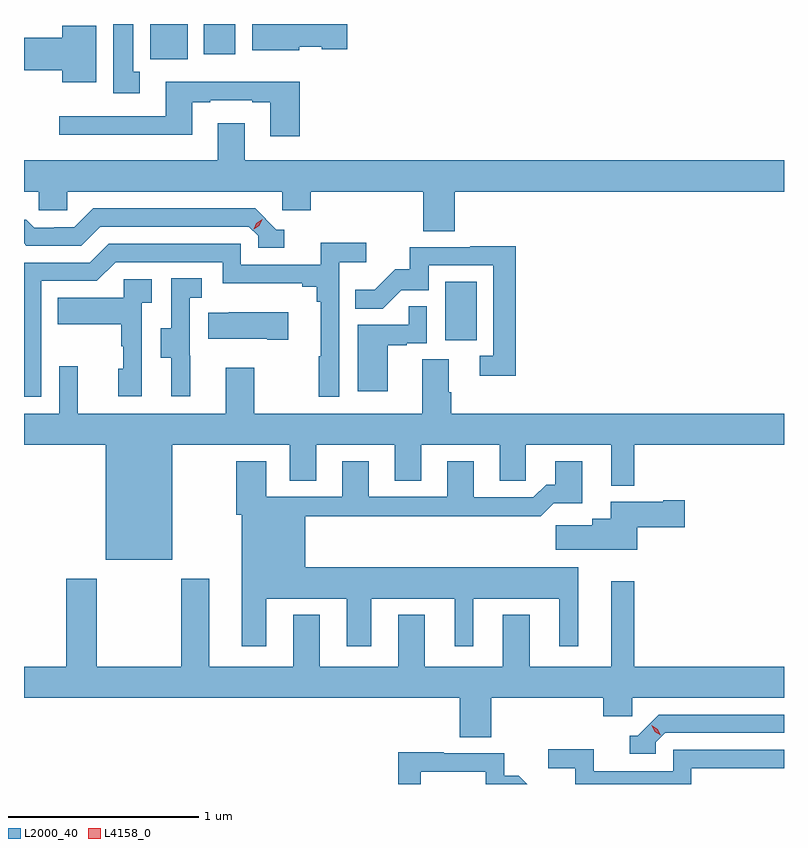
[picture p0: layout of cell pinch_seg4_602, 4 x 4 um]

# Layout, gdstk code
import gdstk
lib = gdstk.Library(unit=1e-6, precision=1e-09)
def R(c, l, rs):  # rectangles x0, y0, x1, y1
    for r in rs: c.add(gdstk.rectangle(r[:2], r[2:], *l))
def P(c, l, *ps):  # polygons
    for p in ps: c.add(gdstk.Polygon(p, *l))
L2000_40 = (2000, 40)
L4158_0 = (4158, 0)

pinch_seg4_602 = lib.new_cell('pinch_seg4_602')
R(pinch_seg4_602, L2000_40, [(1046.036,774.726,1046.2,775.033), (1044.482,776.204,1044.679,776.39)])
P(pinch_seg4_602, L2000_40, [(1044.931,776.39),(1044.821,776.39),(1044.821,776.388),(1044.764,776.388),(1044.764,776.232),(1044.931,776.232)],
  [(1044.427,776.138),(1044.394,776.138),(1044.394,776.39),(1044.287,776.39),(1044.287,776.025),(1044.427,776.025)],
  [(1045.266,776.27),(1045.386,776.27),(1045.386,776.258),(1045.519,776.258),(1045.519,776.39),(1045.019,776.39),(1045.019,776.252),(1045.266,776.252)],
  [(1044.199,776.38),(1044.02,776.38),(1044.02,776.318),(1043.818,776.318),(1043.818,776.146),(1044.02,776.146),(1044.02,776.084),(1044.199,776.084)],
  [(1045.268,776.086),(1044.563,776.086),(1044.563,775.905),(1044.003,775.905),(1044.003,775.808),(1044.703,775.808),(1044.703,775.977),(1044.799,775.977),(1044.799,775.989),(1045.019,775.989),(1045.019,775.977),(1045.115,775.977),(1045.115,775.8),(1045.268,775.8)],
  [(1046.084,775.508),(1047.818,775.508),(1047.818,775.672),(1044.979,775.672),(1044.979,775.867),(1044.839,775.867),(1044.839,775.672),(1043.818,775.672),(1043.818,775.508),(1043.895,775.508),(1043.895,775.41),(1044.045,775.41),(1044.045,775.508),(1045.176,775.508),(1045.176,775.41),(1045.328,775.41),(1045.328,775.508),(1045.919,775.508),(1045.919,775.3),(1046.084,775.3)],
  [(1045.189,775.308),(1045.146,775.308),(1045.035,775.419),(1044.182,775.419),(1044.083,775.32),(1043.976,775.32),(1043.976,775.317),(1043.873,775.317),(1043.831,775.36),(1043.818,775.36),(1043.818,775.237),(1043.831,775.224),(1044.12,775.224),(1044.219,775.323),(1045.002,775.323),(1045.05,775.275),(1045.05,775.212),(1045.189,775.212)],
  [(1043.91,775.038),(1044.201,775.038),(1044.3,775.137),(1044.864,775.137),(1044.864,775.025),(1045.283,775.025),(1045.283,775.006),(1045.36,775.006),(1045.36,774.929),(1045.379,774.929),(1045.379,774.641),(1045.368,774.641),(1045.368,774.429),(1045.476,774.429),(1045.476,775.136),(1045.618,775.136),(1045.618,775.238),(1045.379,775.238),(1045.379,775.122),(1044.96,775.122),(1044.96,775.233),(1044.263,775.233),(1044.164,775.134),(1043.818,775.134),(1043.818,774.429),(1043.91,774.429)],
  [(1046.405,775.22),(1046.167,775.22),(1046.167,775.215),(1045.849,775.215),(1045.849,775.098),(1045.772,775.098),(1045.665,774.991),(1045.561,774.991),(1045.561,774.892),(1045.705,774.892),(1045.803,774.99),(1045.947,774.99),(1045.947,775.119),(1046.289,775.119),(1046.289,774.645),(1046.217,774.645),(1046.217,774.54),(1046.405,774.54)],
  [(1044.692,774.645),(1044.69,774.645),(1044.69,774.949),(1044.754,774.949),(1044.754,775.052),(1044.594,775.052),(1044.594,774.789),(1044.539,774.789),(1044.539,774.634),(1044.593,774.634),(1044.593,774.432),(1044.692,774.432)],
  [(1044.438,774.923),(1044.49,774.923),(1044.49,775.047),(1044.342,775.047),(1044.342,774.949),(1043.995,774.949),(1043.995,774.809),(1044.33,774.809),(1044.33,774.695),(1044.34,774.695),(1044.34,774.576),(1044.314,774.576),(1044.314,774.432),(1044.438,774.432)],
  [(1045.732,774.699),(1045.832,774.699),(1045.832,774.711),(1045.938,774.711),(1045.938,774.905),(1045.843,774.905),(1045.843,774.807),(1045.574,774.807),(1045.574,774.456),(1045.732,774.456)],
  [(1045.21,774.874),(1044.895,774.874),(1044.895,774.871),(1044.787,774.871),(1044.787,774.734),(1045.097,774.734),(1045.097,774.727),(1045.21,774.727)],
  [(1044.598,774.176),(1045.217,774.176),(1045.217,773.986),(1045.357,773.986),(1045.357,774.176),(1045.769,774.176),(1045.769,773.986),(1045.909,773.986),(1045.909,774.176),(1046.321,774.176),(1046.321,773.986),(1046.46,773.986),(1046.46,774.176),(1046.909,774.176),(1046.909,773.96),(1047.031,773.96),(1047.031,774.176),(1047.818,774.176),(1047.818,774.34),(1046.066,774.34),(1046.066,774.452),(1046.053,774.452),(1046.053,774.626),(1045.913,774.626),(1045.913,774.34),(1045.029,774.34),(1045.029,774.58),(1044.881,774.58),(1044.881,774.34),(1044.101,774.34),(1044.101,774.589),(1044.003,774.589),(1044.003,774.34),(1043.818,774.34),(1043.818,774.176),(1044.248,774.176),(1044.248,773.57),(1044.598,773.57)],
  [(1045.093,773.366),(1045.517,773.366),(1045.517,773.115),(1045.645,773.115),(1045.645,773.366),(1046.084,773.366),(1046.084,773.115),(1046.182,773.115),(1046.182,773.366),(1046.636,773.366),(1046.636,773.115),(1046.734,773.115),(1046.734,773.53),(1045.297,773.53),(1045.297,773.8),(1046.281,773.8),(1046.281,773.798),(1046.537,773.798),(1046.606,773.867),(1046.755,773.867),(1046.755,774.088),(1046.615,774.088),(1046.615,773.965),(1046.566,773.965),(1046.499,773.898),(1046.185,773.898),(1046.185,774.088),(1046.045,774.088),(1046.045,773.901),(1045.633,773.901),(1045.633,774.088),(1045.493,774.088),(1045.493,773.901),(1045.093,773.901),(1045.093,774.088),(1044.934,774.088),(1044.934,773.808),(1044.965,773.808),(1044.965,773.115),(1045.093,773.115)],
  [(1047.046,773.741),(1047.295,773.741),(1047.295,773.883),(1047.182,773.883),(1047.182,773.875),(1046.906,773.875),(1046.906,773.785),(1046.81,773.785),(1046.81,773.753),(1046.616,773.753),(1046.616,773.624),(1047.046,773.624)],
  [(1046.276,772.844),(1046.867,772.844),(1046.867,772.746),(1047.018,772.746),(1047.018,772.844),(1047.818,772.844),(1047.818,773.008),(1047.031,773.008),(1047.031,773.458),(1046.909,773.458),(1046.909,773.008),(1046.479,773.008),(1046.479,773.281),(1046.339,773.281),(1046.339,773.008),(1045.927,773.008),(1045.927,773.281),(1045.787,773.281),(1045.787,773.008),(1045.375,773.008),(1045.375,773.281),(1045.235,773.281),(1045.235,773.008),(1044.793,773.008),(1044.793,773.47),(1044.646,773.47),(1044.646,773.008),(1044.201,773.008),(1044.201,773.47),(1044.041,773.47),(1044.041,773.008),(1043.818,773.008),(1043.818,772.844),(1046.111,772.844),(1046.111,772.636),(1046.276,772.636)],
  [(1047.144,772.611),(1047.192,772.659),(1047.818,772.659),(1047.818,772.755),(1047.159,772.755),(1047.048,772.644),(1047.005,772.644),(1047.005,772.548),(1047.144,772.548)],
  [(1047.33,772.473),(1047.818,772.473),(1047.818,772.569),(1047.234,772.569),(1047.234,772.458),(1046.816,772.458),(1046.816,772.574),(1046.577,772.574),(1046.577,772.472),(1046.718,772.472),(1046.718,772.39),(1047.33,772.39)],
  [(1045.905,772.455),(1046.247,772.455),(1046.247,772.39),(1046.466,772.39),(1046.422,772.434),(1046.346,772.434),(1046.346,772.551),(1046.027,772.551),(1046.027,772.556),(1045.789,772.556),(1045.789,772.39),(1045.905,772.39)])
P(pinch_seg4_602, L4158_0, [(1047.168,772.646),(1047.138,772.666),(1047.123,772.698),(1047.123,772.699),(1047.123,772.699),(1047.154,772.679),(1047.169,772.646),(1047.169,772.646)],
  [(1045.026,775.309),(1045.026,775.309),(1045.041,775.342),(1045.071,775.362),(1045.072,775.362),(1045.072,775.362),(1045.056,775.329),(1045.026,775.309)])

lib.write_gds('pinch_seg4_602.gds')
